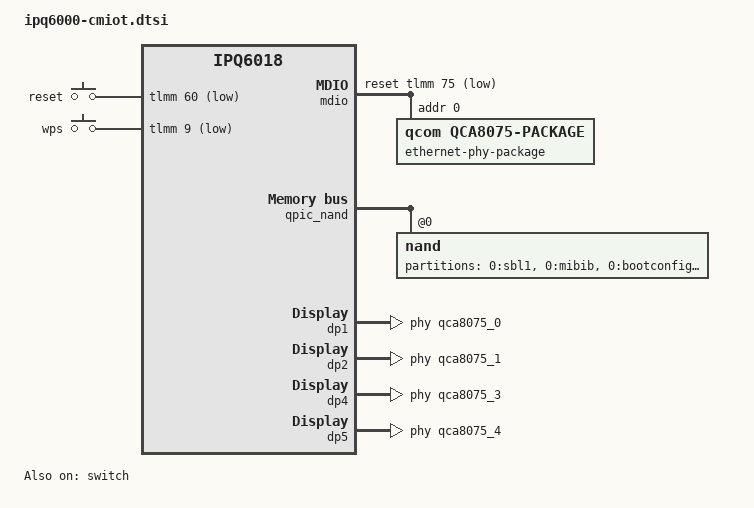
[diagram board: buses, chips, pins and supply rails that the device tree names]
// SPDX-License-Identifier: GPL-2.0-or-later OR MIT

#include "ipq6018.dtsi"
#include "ipq6018-ess.dtsi"
#include "ipq6018-nss.dtsi"
#include "ipq6018-common.dtsi"

#include <dt-bindings/gpio/gpio.h>
#include <dt-bindings/input/input.h>
#include <dt-bindings/leds/common.h>

/ {
    aliases {
        serial0 = &blsp1_uart3;

        ethernet0 = &dp1;
        ethernet1 = &dp2;
        ethernet3 = &dp4;
        ethernet4 = &dp5;
    };

    chosen {
        stdout-path = "serial0:115200n8";
        bootargs-append = " root=/dev/ubiblock0_1";
    };

    keys {
        compatible = "gpio-keys";

        reset {
            label = "reset";
            gpios = <&tlmm 60 GPIO_ACTIVE_LOW>;
            linux,code = <KEY_RESTART>;
        };

        wps {
            label = "wps";
            gpios = <&tlmm 9 GPIO_ACTIVE_LOW>;
            linux,code = <KEY_WPS_BUTTON>;
        };
    };
};

&mdio {
    status = "okay";

    pinctrl-0 = <&mdio_pins>;
    pinctrl-names = "default";
    reset-gpios = <&tlmm 75 GPIO_ACTIVE_LOW>;

    ethernet-phy-package@0 {
        compatible = "qcom,qca8075-package";
        #address-cells = <1>;
        #size-cells = <0>;
        reg = <0>;

        qca8075_0: ethernet-phy@0 {
            compatible = "ethernet-phy-ieee802.3-c22";
            reg = <0>;
        };

        qca8075_1: ethernet-phy@1 {
            compatible = "ethernet-phy-ieee802.3-c22";
            reg = <1>;
        };

        qca8075_3: ethernet-phy@3 {
            compatible = "ethernet-phy-ieee802.3-c22";
            reg = <3>;
        };

        qca8075_4: ethernet-phy@4 {
            compatible = "ethernet-phy-ieee802.3-c22";
            reg = <4>;
        };
    };
};

&switch {
    status = "okay";

    switch_lan_bmp = <(ESS_PORT1 | ESS_PORT2 | ESS_PORT4)>;
    switch_wan_bmp = <ESS_PORT5>;
    switch_mac_mode = <MAC_MODE_PSGMII>;

    qcom,port_phyinfo {
        port@1 {
            port_id = <1>;
            phy_address = <0>;
        };

        port@2 {
            port_id = <2>;
            phy_address = <1>;
        };

        port@4 {
            port_id = <4>;
            phy_address = <3>;
        };

        port@5 {
            port_id = <5>;
            phy_address = <4>;
        };
    };
};

&qpic_nand {
    status = "okay";

    nand@0 {
        reg = <0>;

        nand-ecc-strength = <4>;
        nand-ecc-step-size = <512>;
        nand-bus-width = <8>;

        /* ★★★ 大分区版：替换 smem-part 为 fixed-partitions ★★★ */
        partitions {
            compatible = "fixed-partitions";
            #address-cells = <1>;
            #size-cells = <1>;

            partition@0 {
                label = "0:sbl1";
                reg = <0x00000000 0x00180000>;
                read-only;
            };

            partition@180000 {
                label = "0:mibib";
                reg = <0x00180000 0x00100000>;
                read-only;
            };

            partition@280000 {
                label = "0:bootconfig";
                reg = <0x00280000 0x00080000>;
                read-only;
            };

            partition@300000 {
                label = "0:bootconfig1";
                reg = <0x00300000 0x00080000>;
                read-only;
            };

            partition@380000 {
                label = "0:qsee";
                reg = <0x00380000 0x00380000>;
                read-only;
            };

            partition@700000 {
                label = "0:qsee_1";
                reg = <0x00700000 0x00380000>;
                read-only;
            };

            partition@a80000 {
                label = "0:devcfg";
                reg = <0x00A80000 0x00080000>;
                read-only;
            };

            partition@b00000 {
                label = "0:devcfg_1";
                reg = <0x00B00000 0x00080000>;
                read-only;
            };

            partition@b80000 {
                label = "0:rpm";
                reg = <0x00B80000 0x00080000>;
                read-only;
            };

            partition@c00000 {
                label = "0:rpm_1";
                reg = <0x00C00000 0x00080000>;
                read-only;
            };

            partition@c80000 {
                label = "0:cdt";
                reg = <0x00C80000 0x00080000>;
                read-only;
            };

            partition@d00000 {
                label = "0:cdt_1";
                reg = <0x00D00000 0x00080000>;
                read-only;
            };

            partition@d80000 {
                label = "0:appsblenv";
                reg = <0x00D80000 0x00080000>;
                read-only;
            };

            partition@e00000 {
                label = "0:appsbl";
                reg = <0x00E00000 0x00180000>;
                read-only;
            };

            partition@f80000 {
                label = "0:appsbl_1";
                reg = <0x00F80000 0x00180000>;
                read-only;
            };

            partition@1100000 {
                label = "0:art";
                reg = <0x01100000 0x00080000>;
                read-only;
            };

            /* ★★★ 大 UBI 分区：吃满剩余 NAND ★★★ */
            partition@1180000 {
                label = "ubi";
                reg = <0x01180000 0x06E80000>;
            };
        };
    };
};

&dp1 {
    status = "okay";
    phy-handle = <&qca8075_0>;
    label = "lan3";
};

&dp2 {
    status = "okay";
    phy-handle = <&qca8075_1>;
    label = "lan2";
};

&dp4 {
    status = "okay";
    phy-handle = <&qca8075_3>;
    label = "lan1";
};

&dp5 {
    status = "okay";
    phy-handle = <&qca8075_4>;
    label = "wan";
};

&edma {
    status = "okay";
};
